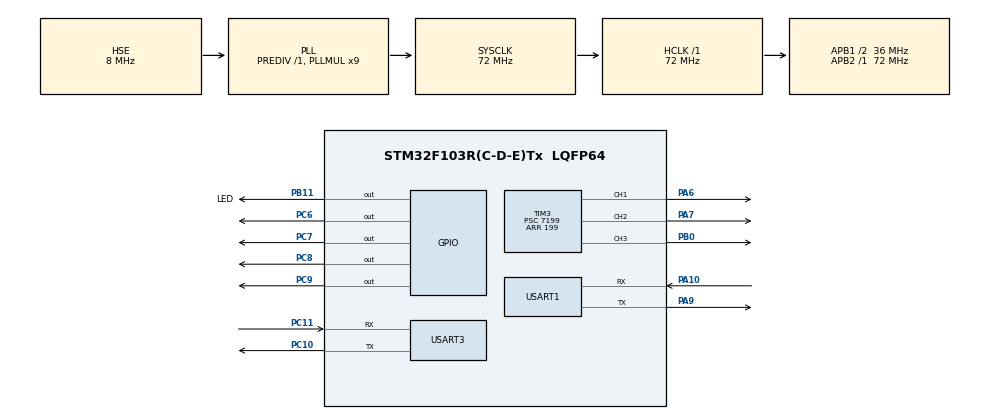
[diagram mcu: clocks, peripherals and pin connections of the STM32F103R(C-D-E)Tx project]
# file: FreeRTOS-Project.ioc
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FREERTOS.Queues01=byte_form_data_queue,1,uint32_t,0,Dynamic,NULL,NULL;min_dist_queue,1,uint16_t,0,Dynamic,NULL,NULL;mmwave_data_transmission_queue,128,uint8_t,0,Dynamic,NULL,NULL
FREERTOS.Tasks01=task_LED_blink,-3,128,func_LED_blink,Default,NULL,Dynamic,NULL,NULL;task_motor,0,128,func_motor,Default,NULL,Dynamic,NULL,NULL;task_mmwave,1,128,func_mmwave,Default,NULL,Dynamic,NULL,NULL
FREERTOS.configENABLE_BACKWARD_COMPATIBILITY=0
FREERTOS.configTOTAL_HEAP_SIZE=10240
Mcu.Family=STM32F1
Mcu.Name=STM32F103R(C-D-E)Tx
Mcu.Package=LQFP64
NVIC.PriorityGroup=NVIC_PRIORITYGROUP_4
NVIC.TIM3_IRQn=true\:3\:0\:true\:false\:true\:false\:true\:true
NVIC.TIM4_IRQn=true\:0\:0\:false\:false\:true\:false\:false\:true
NVIC.TimeBase=TIM4_IRQn
NVIC.TimeBaseIP=TIM4
NVIC.USART1_IRQn=true\:7\:0\:true\:false\:true\:true\:true\:true
NVIC.USART3_IRQn=true\:6\:0\:true\:false\:true\:true\:true\:true
PA10.Mode=Asynchronous
PA10.Signal=USART1_RX
PA13.Mode=Trace_Asynchronous_SW
PA13.Signal=SYS_JTMS-SWDIO
PA14.Mode=Trace_Asynchronous_SW
PA14.Signal=SYS_JTCK-SWCLK
PA6.Signal=S_TIM3_CH1
PA7.Signal=S_TIM3_CH2
PA9.Mode=Asynchronous
PA9.Signal=USART1_TX
PB0.Signal=S_TIM3_CH3
PB11.GPIO_Label=LED
PB11.Signal=GPIO_Output
PB3.Mode=Trace_Asynchronous_SW
PB3.Signal=SYS_JTDO-TRACESWO
PC10.Mode=Asynchronous
PC10.Signal=USART3_TX
PC11.Mode=Asynchronous
PC11.Signal=USART3_RX
PC6.Signal=GPIO_Output
PC7.Signal=GPIO_Output
PC8.Signal=GPIO_Output
PC9.Signal=GPIO_Output
PD0-OSC_IN.Mode=HSE-External-Oscillator
PD0-OSC_IN.Signal=RCC_OSC_IN
PD1-OSC_OUT.Mode=HSE-External-Oscillator
PD1-OSC_OUT.Signal=RCC_OSC_OUT
ProjectManager.HeapSize=0x200
ProjectManager.StackSize=0x400
ProjectManager.TargetToolchain=MDK-ARM V5
RCC.AHBFreq_Value=72000000
RCC.APB1CLKDivider=RCC_HCLK_DIV2
RCC.APB1Freq_Value=36000000
RCC.APB1TimFreq_Value=72000000
RCC.APB2Freq_Value=72000000
RCC.APB2TimFreq_Value=72000000
RCC.HCLKFreq_Value=72000000
RCC.PLLMUL=RCC_PLL_MUL9
RCC.PLLSourceVirtual=RCC_PLLSOURCE_HSE
RCC.SYSCLKFreq_VALUE=72000000
RCC.SYSCLKSource=RCC_SYSCLKSOURCE_PLLCLK
RCC.USBFreq_Value=72000000
SH.S_TIM3_CH1.0=TIM3_CH1,PWM Generation1 CH1
SH.S_TIM3_CH2.0=TIM3_CH2,PWM Generation2 CH2
SH.S_TIM3_CH3.0=TIM3_CH3,PWM Generation3 CH3
TIM3.Channel-PWM\ Generation1\ CH1=TIM_CHANNEL_1
TIM3.Channel-PWM\ Generation2\ CH2=TIM_CHANNEL_2
TIM3.Channel-PWM\ Generation3\ CH3=TIM_CHANNEL_3
TIM3.Period=199
TIM3.Prescaler=7199
TIM3.Pulse-PWM\ Generation1\ CH1=15
USART1.VirtualMode=VM_ASYNC
USART3.VirtualMode=VM_ASYNC
VP_FREERTOS_VS_CMSIS_V1.Mode=CMSIS_V1
VP_SYS_VS_tim4.Mode=TIM4
VP_TIM3_VS_ClockSourceINT.Mode=Internal
board=custom

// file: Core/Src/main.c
/* USER CODE BEGIN Header */
/**
  ******************************************************************************
  * @file           : main.c
  * @brief          : Main program body
  ******************************************************************************
  * @attention
  *
  * <h2><center>&copy; Copyright (c) 2020 STMicroelectronics.
  * All rights reserved.</center></h2>
  *
  * This software component is licensed by ST under Ultimate Liberty license
  * SLA0044, the "License"; You may not use this file except in compliance with
  * the License. You may obtain a copy of the License at:
  *                             www.st.com/SLA0044
  *
  ******************************************************************************
  */
/* USER CODE END Header */
#include "main.h"
#include "cmsis_os.h"

/* USER CODE BEGIN Includes */
#include "MOTOR.h"
#include "OA.h"
#include "SERVO.h"
#include "util.h"
#include "LIDAR.h"
#include "MMWAVE.h"
/* USER CODE END Includes */

/* USER CODE BEGIN PTD */
/*====避障参数设置=======*/
const avoidance_obj avoid_params = {
	.secure_distance = 200,
	.hotzone_limit = 50,
	.minimum_distance = 10
};

/* USER CODE END PTD */

/* USER CODE BEGIN PD */
#define HOT_ZONE 0
#define COLD_ZONE 1

/* USER CODE END PD */

TIM_HandleTypeDef htim3;

UART_HandleTypeDef huart1;
UART_HandleTypeDef huart3;

osThreadId task_LED_blinkHandle;
osThreadId task_motorHandle;
osThreadId task_mmwaveHandle;
osMessageQId byte_form_data_queueHandle;
osMessageQId min_dist_queueHandle;
osMessageQId mmwave_data_transmission_queueHandle;
/* USER CODE BEGIN PV */
uint8_t ZONE_FLAG = HOT_ZONE;
/* USER CODE END PV */

void SystemClock_Config(void);
static void MX_GPIO_Init(void);
static void MX_TIM3_Init(void);
static void MX_USART1_UART_Init(void);
static void MX_USART3_UART_Init(void);
void func_LED_blink(void const * argument);
void func_motor(void const * argument);
void func_mmwave(void const * argument);

int main(void)
{

  /* MCU Configuration--------------------------------------------------------*/

  /* Reset of all peripherals, Initializes the Flash interface and the Systick. */
  HAL_Init();

  /* Configure the system clock */
  SystemClock_Config();

  /* Initialize all configured peripherals */
  MX_GPIO_Init();
  MX_TIM3_Init();
  MX_USART1_UART_Init();
  MX_USART3_UART_Init();

  /* Create the queue(s) */
  /* definition and creation of byte_form_data_queue */
  osMessageQDef(byte_form_data_queue, 1, uint32_t);
  byte_form_data_queueHandle = osMessageCreate(osMessageQ(byte_form_data_queue), NULL);

  /* definition and creation of min_dist_queue */
  osMessageQDef(min_dist_queue, 1, uint16_t);
  min_dist_queueHandle = osMessageCreate(osMessageQ(min_dist_queue), NULL);

  /* definition and creation of mmwave_data_transmission_queue */
  osMessageQDef(mmwave_data_transmission_queue, 128, uint8_t);
  mmwave_data_transmission_queueHandle = osMessageCreate(osMessageQ(mmwave_data_transmission_queue), NULL);

  /* Create the thread(s) */
  /* definition and creation of task_LED_blink */
  osThreadDef(task_LED_blink, func_LED_blink, osPriorityIdle, 0, 128);
  task_LED_blinkHandle = osThreadCreate(osThread(task_LED_blink), NULL);

  /* definition and creation of task_motor */
  osThreadDef(task_motor, func_motor, osPriorityNormal, 0, 128);
  task_motorHandle = osThreadCreate(osThread(task_motor), NULL);

  /* definition and creation of task_mmwave */
  osThreadDef(task_mmwave, func_mmwave, osPriorityAboveNormal, 0, 128);
  task_mmwaveHandle = osThreadCreate(osThread(task_mmwave), NULL);

  /* Start scheduler */
  osKernelStart();

  /* We should never get here as control is now taken by the scheduler */
  /* Infinite loop */
  while (1)
  {

  }
}

void SystemClock_Config(void)
{
  RCC_OscInitTypeDef RCC_OscInitStruct = {0};
  RCC_ClkInitTypeDef RCC_ClkInitStruct = {0};

  /** Initializes the RCC Oscillators according to the specified parameters
  * in the RCC_OscInitTypeDef structure.
  */
  RCC_OscInitStruct.OscillatorType = RCC_OSCILLATORTYPE_HSE;
  RCC_OscInitStruct.HSEState = RCC_HSE_ON;
  RCC_OscInitStruct.HSEPredivValue = RCC_HSE_PREDIV_DIV1;
  RCC_OscInitStruct.HSIState = RCC_HSI_ON;
  RCC_OscInitStruct.PLL.PLLState = RCC_PLL_ON;
  RCC_OscInitStruct.PLL.PLLSource = RCC_PLLSOURCE_HSE;
  RCC_OscInitStruct.PLL.PLLMUL = RCC_PLL_MUL9;
  if (HAL_RCC_OscConfig(&RCC_OscInitStruct) != HAL_OK)
  {
    Error_Handler();
  }
  /** Initializes the CPU, AHB and APB buses clocks
  */
  RCC_ClkInitStruct.ClockType = RCC_CLOCKTYPE_HCLK|RCC_CLOCKTYPE_SYSCLK
                              |RCC_CLOCKTYPE_PCLK1|RCC_CLOCKTYPE_PCLK2;
  RCC_ClkInitStruct.SYSCLKSource = RCC_SYSCLKSOURCE_PLLCLK;
  RCC_ClkInitStruct.AHBCLKDivider = RCC_SYSCLK_DIV1;
  RCC_ClkInitStruct.APB1CLKDivider = RCC_HCLK_DIV2;
  RCC_ClkInitStruct.APB2CLKDivider = RCC_HCLK_DIV1;

  if (HAL_RCC_ClockConfig(&RCC_ClkInitStruct, FLASH_LATENCY_2) != HAL_OK)
  {
    Error_Handler();
  }
}

static void MX_TIM3_Init(void)
{

  TIM_ClockConfigTypeDef sClockSourceConfig = {0};
  TIM_MasterConfigTypeDef sMasterConfig = {0};
  TIM_OC_InitTypeDef sConfigOC = {0};

  htim3.Instance = TIM3;
  htim3.Init.Prescaler = 7199;
  htim3.Init.CounterMode = TIM_COUNTERMODE_UP;
  htim3.Init.Period = 199;
  htim3.Init.ClockDivision = TIM_CLOCKDIVISION_DIV1;
  htim3.Init.AutoReloadPreload = TIM_AUTORELOAD_PRELOAD_DISABLE;
  if (HAL_TIM_Base_Init(&htim3) != HAL_OK)
  {
    Error_Handler();
  }
  sClockSourceConfig.ClockSource = TIM_CLOCKSOURCE_INTERNAL;
  if (HAL_TIM_ConfigClockSource(&htim3, &sClockSourceConfig) != HAL_OK)
  {
    Error_Handler();
  }
  if (HAL_TIM_PWM_Init(&htim3) != HAL_OK)
  {
    Error_Handler();
  }
  sMasterConfig.MasterOutputTrigger = TIM_TRGO_RESET;
  sMasterConfig.MasterSlaveMode = TIM_MASTERSLAVEMODE_DISABLE;
  if (HAL_TIMEx_MasterConfigSynchronization(&htim3, &sMasterConfig) != HAL_OK)
  {
    Error_Handler();
  }
  sConfigOC.OCMode = TIM_OCMODE_PWM1;
  sConfigOC.Pulse = 15;
  sConfigOC.OCPolarity = TIM_OCPOLARITY_HIGH;
  sConfigOC.OCFastMode = TIM_OCFAST_DISABLE;
  if (HAL_TIM_PWM_ConfigChannel(&htim3, &sConfigOC, TIM_CHANNEL_1) != HAL_OK)
  {
    Error_Handler();
  }
  sConfigOC.Pulse = 0;
  if (HAL_TIM_PWM_ConfigChannel(&htim3, &sConfigOC, TIM_CHANNEL_2) != HAL_OK)
  {
    Error_Handler();
  }
  if (HAL_TIM_PWM_ConfigChannel(&htim3, &sConfigOC, TIM_CHANNEL_3) != HAL_OK)
  {
    Error_Handler();
  }
  /* USER CODE BEGIN TIM3_Init 2 */
	HAL_TIM_PWM_Start(&htim3,TIM_CHANNEL_1);//开启 PWM 通道
  /* USER CODE END TIM3_Init 2 */
  HAL_TIM_MspPostInit(&htim3);

}

static void MX_USART1_UART_Init(void)
{

  huart1.Instance = USART1;
  huart1.Init.BaudRate = 115200;
  huart1.Init.WordLength = UART_WORDLENGTH_8B;
  huart1.Init.StopBits = UART_STOPBITS_1;
  huart1.Init.Parity = UART_PARITY_NONE;
  huart1.Init.Mode = UART_MODE_TX_RX;
  huart1.Init.HwFlowCtl = UART_HWCONTROL_NONE;
  huart1.Init.OverSampling = UART_OVERSAMPLING_16;
  if (HAL_UART_Init(&huart1) != HAL_OK)
  {
    Error_Handler();
  }

}

static void MX_USART3_UART_Init(void)
{

  huart3.Instance = USART3;
  huart3.Init.BaudRate = 115200;
  huart3.Init.WordLength = UART_WORDLENGTH_8B;
  huart3.Init.StopBits = UART_STOPBITS_1;
  huart3.Init.Parity = UART_PARITY_NONE;
  huart3.Init.Mode = UART_MODE_TX_RX;
  huart3.Init.HwFlowCtl = UART_HWCONTROL_NONE;
  huart3.Init.OverSampling = UART_OVERSAMPLING_16;
  if (HAL_UART_Init(&huart3) != HAL_OK)
  {
    Error_Handler();
  }
  /* USER CODE BEGIN USART3_Init 2 */
	HAL_UART_Receive_IT(&huart3, (uint8_t *)aRxBuffer, RXBUFFERSIZE);//该函数会开启接收中断
  /* USER CODE END USART3_Init 2 */

}

static void MX_GPIO_Init(void)
{
  GPIO_InitTypeDef GPIO_InitStruct = {0};

  /* GPIO Ports Clock Enable */
  __HAL_RCC_GPIOD_CLK_ENABLE();
  __HAL_RCC_GPIOA_CLK_ENABLE();
  __HAL_RCC_GPIOB_CLK_ENABLE();
  __HAL_RCC_GPIOC_CLK_ENABLE();

  /*Configure GPIO pin Output Level */
  HAL_GPIO_WritePin(LED_GPIO_Port, LED_Pin, GPIO_PIN_RESET);

  /*Configure GPIO pin Output Level */
  HAL_GPIO_WritePin(GPIOC, GPIO_PIN_6|GPIO_PIN_7|GPIO_PIN_8|GPIO_PIN_9, GPIO_PIN_RESET);

  /*Configure GPIO pin : LED_Pin */
  GPIO_InitStruct.Pin = LED_Pin;
  GPIO_InitStruct.Mode = GPIO_MODE_OUTPUT_PP;
  GPIO_InitStruct.Pull = GPIO_NOPULL;
  GPIO_InitStruct.Speed = GPIO_SPEED_FREQ_LOW;
  HAL_GPIO_Init(LED_GPIO_Port, &GPIO_InitStruct);

  /*Configure GPIO pins : PC6 PC7 PC8 PC9 */
  GPIO_InitStruct.Pin = GPIO_PIN_6|GPIO_PIN_7|GPIO_PIN_8|GPIO_PIN_9;
  GPIO_InitStruct.Mode = GPIO_MODE_OUTPUT_PP;
  GPIO_InitStruct.Pull = GPIO_NOPULL;
  GPIO_InitStruct.Speed = GPIO_SPEED_FREQ_LOW;
  HAL_GPIO_Init(GPIOC, &GPIO_InitStruct);

}

void func_LED_blink(void const * argument)
{
  /* USER CODE BEGIN 5 */
  /* Infinite loop */
  for(;;)
  {
		osDelay(500);
		HAL_GPIO_TogglePin(GPIOB,GPIO_PIN_11);
  }
  /* USER CODE END 5 */
}

void func_motor(void const * argument)
{
  /* USER CODE BEGIN func_motor */
	/*func_motor()任务读取队列信息，*/
	uint32_t byte_form_array = 0;
	uint16_t minimum_distance = 0;
	osEvent temp;
  /* Infinite loop */
  for(;;)
  {
		temp = osMessageGet(byte_form_data_queueHandle,osWaitForever);
		if(temp.status==osEventMessage)
		{
			byte_form_array = temp.value.v;
		}

		temp = osMessageGet(min_dist_queueHandle,100);
		if(temp.status==osEventMessage)
		{
			minimum_distance = temp.value.v;
		}

//		printf("minimum distance:%d, set param:%d\n",minimum_distance,avoid_params.minimum_distance);
		if(byte_form_array == 0x17||byte_form_array == 0x15||byte_form_array == 0x1d||
			byte_form_array == 0x1f||minimum_distance <= avoid_params.minimum_distance)
				{
					backward(18);
				}//当1的个数大于4或障碍数组为10101时，倒车
		else if((byte_form_array & 0x0e) == 0x00) forward(17);
		else if((byte_form_array&0x1c)>>3 >= (byte_form_array&0x07)) right_steel();
		else if((byte_form_array&0x1c)>>3 < (byte_form_array&0x07)) left_steel();
		else printf("undefined");
    osDelay(50);
  }
  /* USER CODE END func_motor */
}

void func_mmwave(void const * argument)
{
  /* USER CODE BEGIN func_mmwave */

	#if SENSOR == MMWAVE
  uint16_t obstacle_array_counter_mean_distance[5] = {0xFFFF,0xFFFF,0xFFFF,0xFFFF,0xFFFF};
	uint16_t byte_form_array;
	uint16_t minimum_dis;
	/* Infinite loop */
  for(;;)
  {
		if(mmwave_process_data(obstacle_array_counter_mean_distance,10,5))
		{
			byte_form_array = process_obstacle_array(&minimum_dis,avoid_params,obstacle_array_counter_mean_distance);

			osMessagePut(byte_form_data_queueHandle,byte_form_array,50);
			osMessagePut(min_dist_queueHandle,minimum_dis,50);
		}
		osDelay(1);
  }
	#else
	osThreadTerminate(task_mmwaveHandle);
	#endif
  /* USER CODE END func_mmwave */
}

void HAL_TIM_PeriodElapsedCallback(TIM_HandleTypeDef *htim)
{
  if (htim->Instance == TIM4) {
    HAL_IncTick();
  }
}

void Error_Handler(void)
{
}

/************************ (C) COPYRIGHT STMicroelectronics *****END OF FILE****/
